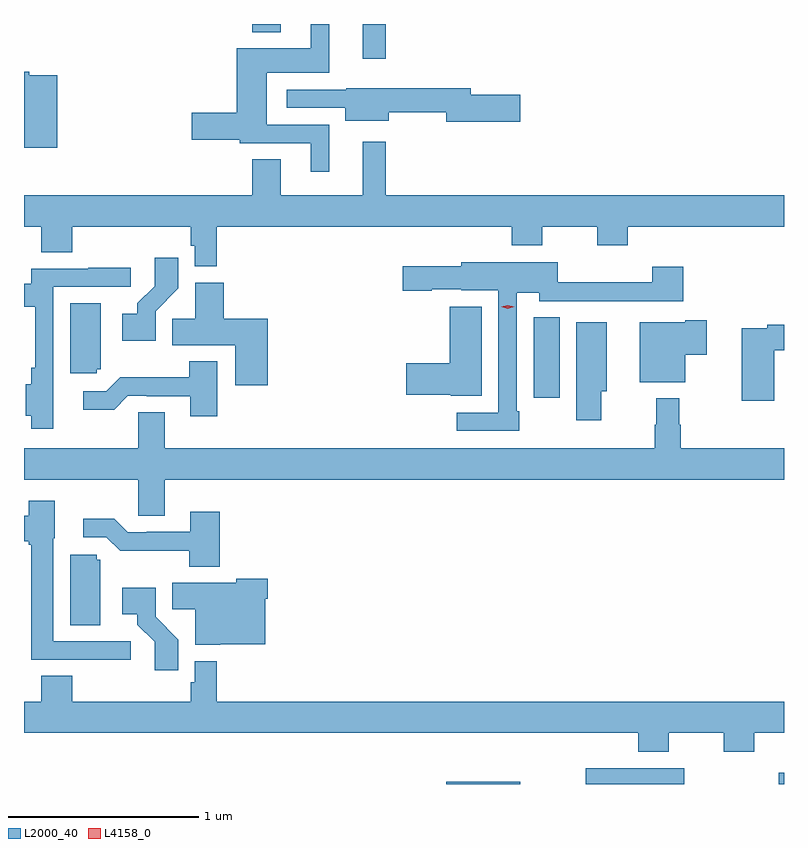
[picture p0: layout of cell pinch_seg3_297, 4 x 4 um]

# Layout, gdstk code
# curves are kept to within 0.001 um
import gdstk
lib = gdstk.Library(unit=1e-6, precision=1e-09)
def R(c, l, rs):  # rectangles x0, y0, x1, y1
    for r in rs: c.add(gdstk.rectangle(r[:2], r[2:], *l))
def P(c, l, *ps):  # polygons
    for p in ps: c.add(gdstk.Polygon(p, *l))
L2000_40 = (2000, 40)
L4158_0 = (4158, 0)

pinch_seg3_297 = lib.new_cell('pinch_seg3_297')
R(pinch_seg3_297, L2000_40, [(989.63,717.962,990.019,717.973), (990.363,717.962,990.882,718.045), (991.379,717.962,991.407,718.021), (990.089,719.994,990.226,720.419), (989.189,721.779,989.311,721.962), (988.607,721.919,988.759,721.962)])
P(pinch_seg3_297, L2000_40, [(989.014,721.431),(988.684,721.431),(988.684,721.706),(989.014,721.706),(989.014,721.962),(988.916,721.962),(988.916,721.834),(988.526,721.834),(988.526,721.496),(988.29,721.496),(988.29,721.354),(988.542,721.354),(988.542,721.335),(988.916,721.335),(988.916,721.185),(989.014,721.185)],
  [(987.581,721.692),(987.434,721.692),(987.434,721.712),(987.407,721.712),(987.407,721.311),(987.581,721.311)],
  [(990.019,721.589),(989.758,721.589),(989.758,721.625),(989.103,721.625),(989.103,721.617),(988.791,721.617),(988.791,721.521),(989.099,721.521),(989.099,721.454),(989.326,721.454),(989.326,721.497),(989.63,721.497),(989.63,721.447),(990.019,721.447)],
  [(988.421,720.896),(989.975,720.896),(989.975,720.797),(990.135,720.797),(990.135,720.896),(990.424,720.896),(990.424,720.797),(990.584,720.797),(990.584,720.896),(991.407,720.896),(991.407,721.06),(989.311,721.06),(989.311,721.342),(989.189,721.342),(989.189,721.06),(988.759,721.06),(988.759,721.25),(988.607,721.25),(988.607,721.06),(987.407,721.06),(987.407,720.896),(987.497,720.896),(987.497,720.76),(987.662,720.76),(987.662,720.896),(988.285,720.896),(988.285,720.795),(988.305,720.795),(988.305,720.686),(988.421,720.686)],
  [(988.101,720.451),(988.22,720.57),(988.22,720.733),(988.095,720.733),(988.095,720.581),(988.004,720.491),(988.004,720.436),(987.924,720.436),(987.924,720.296),(988.101,720.296)],
  [(990.013,719.923),(990,719.923),(990,720.548),(990.12,720.548),(990.12,720.504),(990.878,720.504),(990.878,720.685),(990.713,720.685),(990.713,720.602),(990.216,720.602),(990.216,720.709),(989.709,720.709),(989.709,720.688),(989.4,720.688),(989.4,720.559),(989.552,720.559),(989.552,720.566),(989.709,720.566),(989.709,720.56),(989.904,720.56),(989.904,719.916),(989.685,719.916),(989.685,719.82),(990.013,719.82)],
  [(987.562,720.054),(987.561,720.054),(987.561,720.579),(987.97,720.579),(987.97,720.678),(987.745,720.678),(987.745,720.675),(987.445,720.675),(987.445,720.595),(987.407,720.595),(987.407,720.474),(987.465,720.474),(987.465,720.154),(987.445,720.154),(987.445,720.066),(987.416,720.066),(987.416,719.9),(987.445,719.9),(987.445,719.832),(987.562,719.832)],
  [(988.691,720.412),(988.457,720.412),(988.457,720.601),(988.307,720.601),(988.307,720.41),(988.186,720.41),(988.186,720.272),(988.52,720.272),(988.52,720.06),(988.691,720.06)],
  [(987.789,720.144),(987.811,720.144),(987.811,720.493),(987.65,720.493),(987.65,720.123),(987.789,720.123)],
  [(989.815,720.475),(989.648,720.475),(989.648,720.177),(989.418,720.177),(989.418,720.011),(989.652,720.011),(989.652,720.005),(989.815,720.005)],
  [(990.886,720.221),(991,720.221),(991,720.404),(990.887,720.404),(990.887,720.391),(990.647,720.391),(990.647,720.077),(990.886,720.077)],
  [(990.444,720.029),(990.475,720.029),(990.475,720.391),(990.314,720.391),(990.314,719.877),(990.444,719.877)],
  [(991.355,720.244),(991.407,720.244),(991.407,720.38),(991.318,720.38),(991.318,720.36),(991.184,720.36),(991.184,719.979),(991.355,719.979)],
  [(988.423,720.187),(988.276,720.187),(988.276,720.103),(987.913,720.103),(987.84,720.03),(987.72,720.03),(987.72,719.933),(987.881,719.933),(987.954,720.006),(988.054,720.006),(988.054,720.003),(988.283,720.003),(988.283,719.898),(988.423,719.898)],
  [(988.147,719.564),(991.407,719.564),(991.407,719.728),(990.863,719.728),(990.863,719.852),(990.856,719.852),(990.856,719.992),(990.735,719.992),(990.735,719.852),(990.727,719.852),(990.727,719.728),(988.147,719.728),(988.147,719.918),(988.008,719.918),(988.008,719.728),(987.407,719.728),(987.407,719.564),(988.008,719.564),(988.008,719.374),(988.147,719.374)],
  [(987.97,718.713),(987.561,718.713),(987.561,719.256),(987.568,719.256),(987.568,719.452),(987.432,719.452),(987.432,719.374),(987.407,719.374),(987.407,719.24),(987.432,719.24),(987.432,719.222),(987.445,719.222),(987.445,718.617),(987.745,718.617),(987.745,718.615),(987.97,718.615)],
  [(988.436,719.395),(988.283,719.395),(988.283,719.289),(988.054,719.289),(988.054,719.286),(987.954,719.286),(987.881,719.359),(987.72,719.359),(987.72,719.262),(987.84,719.262),(987.913,719.189),(988.276,719.19),(988.276,719.105),(988.436,719.105)],
  [(987.808,719.142),(987.789,719.142),(987.789,719.169),(987.65,719.169),(987.65,718.798),(987.808,718.798)],
  [(988.44,718.697),(988.678,718.697),(988.678,718.937),(988.691,718.937),(988.691,719.041),(988.524,719.041),(988.524,719.02),(988.186,719.02),(988.186,718.882),(988.307,718.882),(988.307,718.694),(988.44,718.694)],
  [(988.22,718.722),(988.101,718.841),(988.101,718.996),(987.924,718.996),(987.924,718.856),(988.004,718.856),(988.004,718.801),(988.095,718.711),(988.095,718.56),(988.22,718.56)],
  [(990.801,718.232),(991.09,718.232),(991.09,718.133),(991.25,718.133),(991.25,718.232),(991.407,718.232),(991.407,718.396),(988.421,718.396),(988.421,718.609),(988.305,718.609),(988.305,718.497),(988.285,718.497),(988.285,718.396),(987.662,718.396),(987.662,718.532),(987.497,718.532),(987.497,718.396),(987.407,718.396),(987.407,718.232),(990.641,718.232),(990.641,718.133),(990.801,718.133)])
P(pinch_seg3_297, L4158_0, [(989.953,720.463),(989.918,720.473),(989.917,720.473),(989.918,720.473),(989.953,720.483),(989.987,720.473),(989.988,720.473),(989.987,720.473)])

lib.write_gds('pinch_seg3_297.gds')
